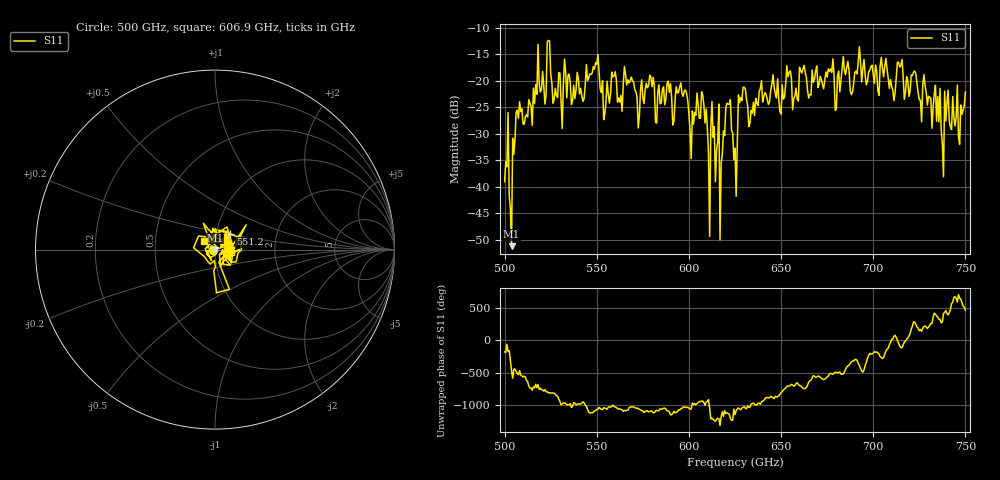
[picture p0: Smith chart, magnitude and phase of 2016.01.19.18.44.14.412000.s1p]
!Created with skrf (http://scikit-rf.org).
# GHz S RI R 50.0
!freq ReS11 ImS11
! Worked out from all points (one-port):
!   401 points, 500 GHz to 750 GHz, reference 50 ohm
!   lowest |S11| = -51.2 dB at 503.8 GHz (marker M1), VSWR 1.01, Z = 49.9 - j0.268 ohm
!   |S11| at or under -10 dB: start of sweep to end of sweep
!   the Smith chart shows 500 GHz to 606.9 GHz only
!   S11 on the Smith chart (normalised r, x): 500 GHz: 0.98, -0.00; 551.2 GHz: 1.17, +0.21; 606.9 GHz: 0.88, +0.08
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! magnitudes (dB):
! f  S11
! 500 GHz  -39.0
! 503.8 GHz  -51.2
! 507.5 GHz  -27.1
! 521.2 GHz  -20.9
! 524.4 GHz  -12.4
! 526.9 GHz  -23.5
! 531.2 GHz  -29.0
! 551.2 GHz  -18.3
! 562.5 GHz  -24.0
! 566.2 GHz  -20.8
! 571.9 GHz  -23.1
! 593.8 GHz  -22.3
! 601.2 GHz  -34.7
! 606.9 GHz  -22.0
! 610 GHz  -28.9
! 618.1 GHz  -33.9
! 621.2 GHz  -24.4
! 625 GHz  -32.7
! 629.4 GHz  -21.2
! 633.1 GHz  -28.0
! 656.2 GHz  -25.5
! 687.5 GHz  -21.7
! 711.2 GHz  -23.7
! 714.4 GHz  -17.4
! 718.8 GHz  -20.0
! 735 GHz  -23.0
! 736.9 GHz  -29.2
! 750 GHz  -22.1
